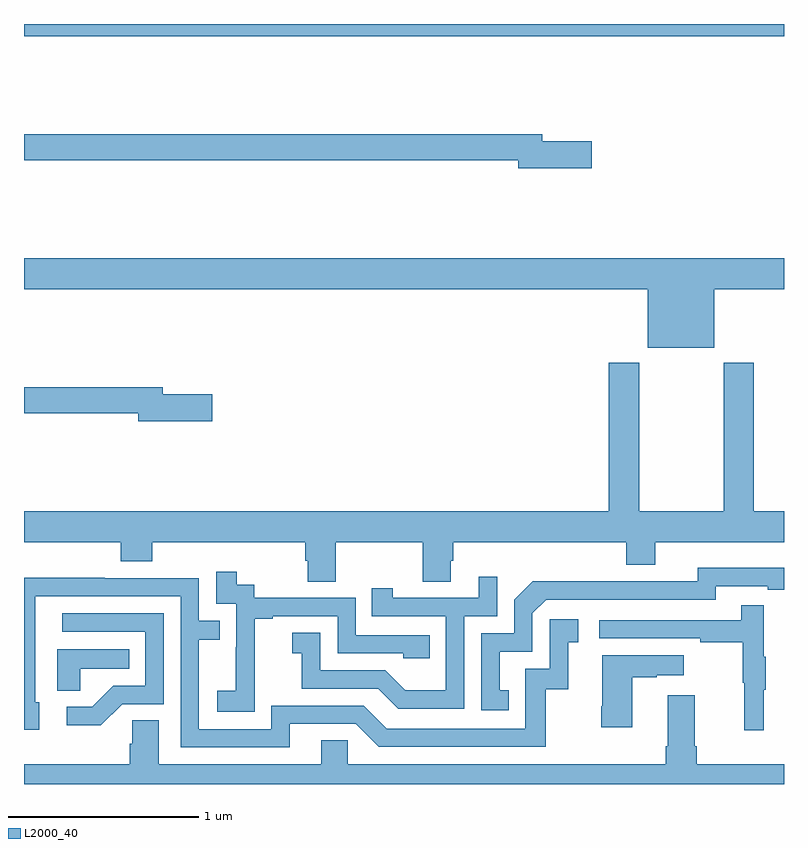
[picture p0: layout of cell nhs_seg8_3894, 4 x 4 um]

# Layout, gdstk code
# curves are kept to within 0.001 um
import gdstk
lib = gdstk.Library(unit=1e-6, precision=1e-09)
def R(c, l, rs):  # rectangles x0, y0, x1, y1
    for r in rs: c.add(gdstk.rectangle(r[:2], r[2:], *l))
def P(c, l, *ps):  # polygons
    for p in ps: c.add(gdstk.Polygon(p, *l))
L2000_40 = (2000, 40)

nhs_seg8_3894 = lib.new_cell('nhs_seg8_3894')
R(nhs_seg8_3894, L2000_40, [(351,1113.836,355,1113.9)])
P(nhs_seg8_3894, L2000_40, [(353.989,1113.284),(353.728,1113.284),(353.728,1113.32),(351,1113.32),(351,1113.184),(353.6,1113.184),(353.6,1113.142),(353.989,1113.142)],
  [(354.634,1112.504),(355,1112.504),(355,1112.668),(351,1112.668),(351,1112.504),(354.284,1112.504),(354.284,1112.195),(354.634,1112.195)],
  [(354.237,1112.116),(354.077,1112.116),(354.077,1111.336),(351,1111.336),(351,1111.172),(351.509,1111.172),(351.509,1111.073),(351.674,1111.073),(351.674,1111.172),(352.481,1111.172),(352.481,1111.074),(352.493,1111.074),(352.493,1110.964),(352.641,1110.964),(352.641,1111.172),(353.098,1111.172),(353.098,1110.964),(353.245,1110.964),(353.245,1111.074),(353.258,1111.074),(353.258,1111.172),(354.17,1111.172),(354.17,1111.055),(354.322,1111.055),(354.322,1111.172),(355,1111.172),(355,1111.336),(354.842,1111.336),(354.842,1112.116),(354.682,1112.116),(354.682,1111.336),(354.237,1111.336)],
  [(351.991,1111.952),(351.73,1111.952),(351.73,1111.988),(351,1111.988),(351,1111.852),(351.602,1111.852),(351.602,1111.81),(351.991,1111.81)],
  [(353.552,1110.393),(353.503,1110.393),(353.503,1110.597),(353.676,1110.597),(353.676,1110.798),(353.748,1110.87),(354.642,1110.87),(354.642,1110.942),(354.914,1110.942),(354.914,1110.922),(355,1110.922),(355,1111.038),(354.546,1111.039),(354.546,1110.966),(354.086,1110.966),(354.086,1110.968),(353.678,1110.968),(353.58,1110.87),(353.58,1110.693),(353.406,1110.693),(353.406,1110.288),(353.552,1110.288)],
  [(352.215,1110.487),(352.214,1110.487),(352.214,1110.771),(352.309,1110.771),(352.309,1110.783),(352.65,1110.783),(352.65,1110.588),(352.995,1110.588),(352.995,1110.561),(353.135,1110.561),(353.135,1110.684),(352.746,1110.684),(352.746,1110.879),(352.212,1110.879),(352.212,1110.948),(352.12,1110.948),(352.12,1111.018),(352.011,1111.018),(352.011,1110.849),(352.116,1110.849),(352.116,1110.62),(352.115,1110.62),(352.115,1110.391),(352.017,1110.391),(352.017,1110.281),(352.215,1110.281)],
  [(353.316,1110.783),(353.49,1110.783),(353.49,1110.991),(353.393,1110.991),(353.393,1110.879),(352.942,1110.879),(352.942,1110.931),(352.831,1110.931),(352.831,1110.783),(353.22,1110.783),(353.22,1110.394),(353.006,1110.394),(352.902,1110.498),(352.56,1110.498),(352.56,1110.697),(352.413,1110.697),(352.413,1110.587),(352.462,1110.587),(352.462,1110.402),(352.865,1110.402),(352.97,1110.297),(353.316,1110.297)],
  [(352.399,1110.216),(352.746,1110.216),(352.866,1110.096),(353.746,1110.096),(353.746,1110.399),(353.864,1110.399),(353.864,1110.645),(353.917,1110.645),(353.917,1110.766),(353.766,1110.766),(353.766,1110.507),(353.637,1110.507),(353.637,1110.192),(352.908,1110.192),(352.788,1110.312),(352.302,1110.312),(352.302,1110.189),(351.921,1110.189),(351.921,1110.658),(352.031,1110.658),(352.031,1110.759),(351.921,1110.759),(351.921,1110.984),(351.425,1110.984),(351.425,1110.986),(351,1110.986),(351,1110.186),(351.079,1110.186),(351.079,1110.33),(351.06,1110.33),(351.06,1110.888),(351.825,1110.888),(351.825,1110.093),(352.399,1110.093)],
  [(354.893,1110.395),(354.904,1110.395),(354.904,1110.569),(354.893,1110.569),(354.893,1110.841),(354.775,1110.841),(354.775,1110.762),(354.027,1110.762),(354.027,1110.666),(354.559,1110.666),(354.559,1110.646),(354.783,1110.646),(354.783,1110.432),(354.79,1110.432),(354.79,1110.183),(354.893,1110.183)],
  [(351.516,1110.321),(351.735,1110.321),(351.735,1110.798),(351.201,1110.798),(351.201,1110.702),(351.639,1110.702),(351.639,1110.417),(351.47,1110.417),(351.359,1110.306),(351.225,1110.306),(351.225,1110.209),(351.403,1110.209)],
  [(351.297,1110.506),(351.554,1110.506),(351.554,1110.61),(351.176,1110.61),(351.176,1110.391),(351.297,1110.391)],
  [(354.202,1110.463),(354.329,1110.463),(354.329,1110.473),(354.472,1110.473),(354.472,1110.577),(354.044,1110.577),(354.044,1110.31),(354.037,1110.31),(354.037,1110.198),(354.202,1110.198)],
  [(351.709,1110.236),(351.57,1110.236),(351.57,1110.113),(351.557,1110.113),(351.557,1110.004),(351,1110.004),(351,1109.9),(355,1109.9),(355,1110.004),(354.542,1110.004),(354.542,1110.1),(354.529,1110.1),(354.529,1110.367),(354.389,1110.367),(354.389,1110.1),(354.377,1110.1),(354.377,1110.004),(352.704,1110.004),(352.704,1110.131),(352.565,1110.131),(352.565,1110.004),(351.709,1110.004)])

lib.write_gds('nhs_seg8_3894.gds')
